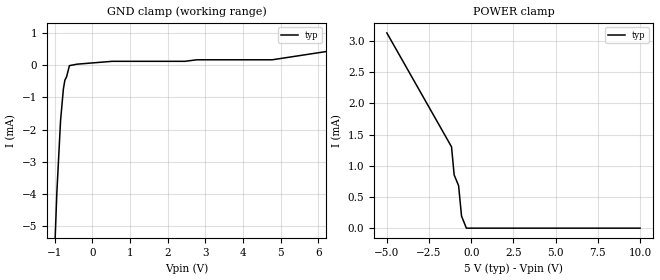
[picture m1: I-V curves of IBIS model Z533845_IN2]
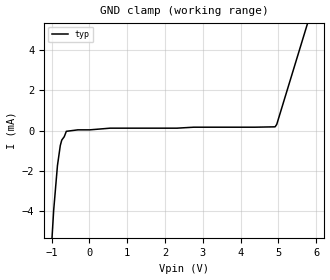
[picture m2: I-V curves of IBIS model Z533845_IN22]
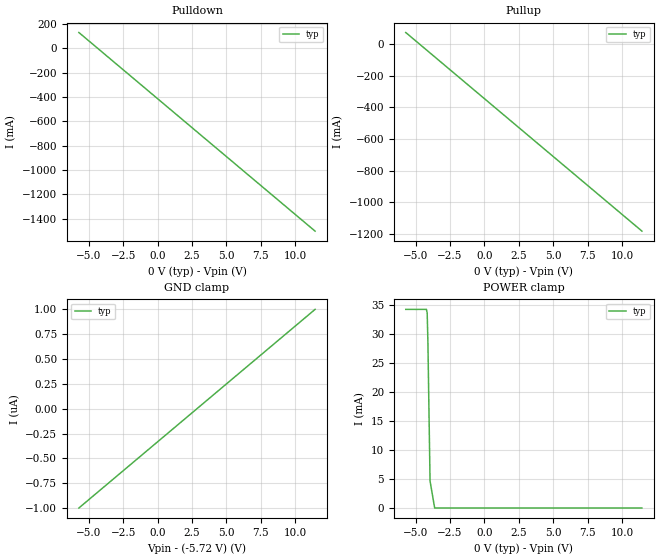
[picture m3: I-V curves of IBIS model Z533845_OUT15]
| YOU ARE ONLY AUTHORIZED TO USE THIS SOFTWARE
| ACCORDING TO LICENSOR'S LICENSE RESTRICTIONS.
[IBIS Ver] 3.1
[File Name] mc100e157fn_pecl.ibs
[File Rev] 2.0
[Source] Measured and created by ICX Technology
[Date] Friday 7/14/00 9:07:47 AM
[Copyright]
| (C) COPYRIGHT 1993-2000
| MENTOR GRAPHICS CORPORATION
| ICX STANDARD LIBRARY, ICX PROJECT MODELING,
| ICX CUSTOM MODELING, ICX VENDOR MODEL
| ALL RIGHTS RESERVED.
| THE FOLLOWING ARE TRADEMARKS OR SERVICE MARKS OF
| MENTOR GRAPHICS CORPORATION:ICX (R), ICX STANDARD
| LIBRARY(R), ICX PROJECT MODELING(R), ICX CUSTOM
| MODELING(R), qualityIBIS(TM), MODELVIEWER(TM),
| AND MODELEDITOR(TM)
| ALL COPIES OF SOFTWARE, INCLUDING BUT NOT LIMITED TO
| ANY MODIFICATIONS, ENHANCEMENTS OR DERIVATIVE WORKS,
| MUST CONTAIN ALL MENTOR GRAPHICS CORPORATION'S
| NOTICES AND LEGENDS, INCLUDING THOSE EMBEDDED IN
| SOFTWARE AND THOSE AFFIXED TO SOFTWARE MEDIUM
| AND CONTAINER, AS RECEIVED FROM MENTOR GRAPHICS
| CORPORATION.
|  ZAP Model Builder 2.7
[Component] MC100E157FN_PECL
[Manufacturer] OnSemiconductor
[Package]
| variable   typ   min   max
R_pkg  .083ohms NA NA
L_pkg  4.299nH NA NA
C_pkg  1.045pF NA NA
[Pin] signal_name  model_name  R_pin  L_pin C_pin
1 VEE GND .08 3.94n .925p
2 SEL1 Z533845_IN2 .082 4.14n .995p
3 D1A Z533845_IN22 .084 4.354n 1.065p
4 D1B Z533845_IN22 .086 4.583n 1.135p
5 SEL0 Z533845_IN2 .086 4.583n 1.135p
6 D0A Z533845_IN22 .084 4.354n 1.065p
7 D0B Z533845_IN22 .082 4.14n .995p
8 NC NC .08 3.94n .925p
9 NC NC .082 4.14n .995p
10 NC NC .084 4.354n 1.065p
11 VCCO POWER .086 4.583n 1.135p
12 Q0 Z533845_OUT15 .086 4.583n 1.135p
13 _Q0 Z533845_OUT15 .084 4.354n 1.065p
14 Q1 Z533845_OUT15 .082 4.14n .995p
15 _Q1 Z533845_OUT15 .08 3.94n .925p
16 VCC POWER .082 4.14n .995p
17 Q2 Z533845_OUT15 .084 4.354n 1.065p
18 _Q2 Z533845_OUT15 .086 4.583n 1.135p
19 Q3 Z533845_OUT15 .086 4.583n 1.135p
20 _Q3 Z533845_OUT15 .084 4.354n 1.065p
21 VCCO POWER .082 4.14n .995p
22 D3B Z533845_IN22 .08 3.94n .925p
23 D3A Z533845_IN22 .082 4.14n .995p
24 NC NC .084 4.354n 1.065p
25 SEL3 Z533845_IN2 .086 4.583n 1.135p
26 D2B Z533845_IN22 .086 4.583n 1.135p
27 D2A Z533845_IN22 .084 4.354n 1.065p
28 SEL2 Z533845_IN2 .082 4.14n .995p
| Models and submodels in the file (3): Z533845_IN2 (Input_ECL), Z533845_IN22 (Input_ECL), Z533845_OUT15 (Output_ECL)
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| (C) COPYRIGHT 1993-2000
| MENTOR GRAPHICS CORPORATION
| ICX STANDARD LIBRARY, ICX PROJECT MODELING,
| ICX CUSTOM MODELING, ICX VENDOR MODEL
| ALL RIGHTS RESERVED.
| THE FOLLOWING ARE TRADEMARKS OR SERVICE MARKS OF
| MENTOR GRAPHICS CORPORATION:ICX (R), ICX STANDARD
| LIBRARY(R), ICX PROJECT MODELING(R), ICX CUSTOM
| MODELING(R), qualityIBIS(TM), MODELVIEWER(TM),
| AND MODELEDITOR(TM)
| ALL COPIES OF SOFTWARE, INCLUDING BUT NOT LIMITED TO
| ANY MODIFICATIONS, ENHANCEMENTS OR DERIVATIVE WORKS,
| MUST CONTAIN ALL MENTOR GRAPHICS CORPORATION'S
| NOTICES AND LEGENDS, INCLUDING THOSE EMBEDDED IN
| SOFTWARE AND THOSE AFFIXED TO SOFTWARE MEDIUM
| AND CONTAINER, AS RECEIVED FROM MENTOR GRAPHICS
| CORPORATION.
| Model Application Version 1.89 2/18/99.
[Model] Z533845_IN2
Model_type Input_ECL
Vinl = 3.520V
Vinh = 3.830V
C_comp 4.000pF NA NA
| variable typ   min   max
[Voltage Range] 5.000V NA NA
[GND Clamp Reference] 0.000V NA NA
[POWER Clamp Reference] 5.000V NA NA
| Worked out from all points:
|   GND clamp passes 1 mA (typ) near -0.79 V on its own axis
|   POWER clamp passes 1 mA (typ) near -1.06 V on its own axis
[GND Clamp]
-5V       -263mA     NA         NA
-1.04V    -6.99mA    NA         NA
-943.9mV  -3.96mA    NA         NA
-845.1mV  -1.719mA   NA         NA
-770.1mV  -742.1uA   NA         NA
-730.6mV  -469.5uA   NA         NA
-685.1mV  -363.4uA   NA         NA
-609.6mV  -17.37uA   NA         NA
527.3mV   116.2uA    NA         NA
2.779V    163.6uA    NA         NA
4.779V    163.6uA    NA         NA
10V       1.093mA    NA         NA
[POWER Clamp]
-5V       3.129mA    NA         NA
-1.167V   1.303mA    NA         NA
-1.011V   852.1uA    NA         NA
-748mV    680.9uA    NA         NA
-575mV    194uA      NA         NA
-287.5mV  0A         NA         NA
10V       0A         NA         NA
| (C) COPYRIGHT 1993-2000
| MENTOR GRAPHICS CORPORATION
| ICX STANDARD LIBRARY, ICX PROJECT MODELING,
| ICX CUSTOM MODELING, ICX VENDOR MODEL
| ALL RIGHTS RESERVED.
| THE FOLLOWING ARE TRADEMARKS OR SERVICE MARKS OF
| MENTOR GRAPHICS CORPORATION:ICX (R), ICX STANDARD
| LIBRARY(R), ICX PROJECT MODELING(R), ICX CUSTOM
| MODELING(R), qualityIBIS(TM), MODELVIEWER(TM),
| AND MODELEDITOR(TM)
| ALL COPIES OF SOFTWARE, INCLUDING BUT NOT LIMITED TO
| ANY MODIFICATIONS, ENHANCEMENTS OR DERIVATIVE WORKS,
| MUST CONTAIN ALL MENTOR GRAPHICS CORPORATION'S
| NOTICES AND LEGENDS, INCLUDING THOSE EMBEDDED IN
| SOFTWARE AND THOSE AFFIXED TO SOFTWARE MEDIUM
| AND CONTAINER, AS RECEIVED FROM MENTOR GRAPHICS
| CORPORATION.
| Model Application Version 1.89 2/18/99.
[Model] Z533845_IN22
Model_type Input_ECL
Vinl = 3.520V
Vinh = 3.830V
C_comp 4.000pF NA NA
| variable typ   min   max
[Voltage Range] 5.000V NA NA
[GND Clamp Reference] 0.000V NA NA
[POWER Clamp Reference] 5.000V NA NA
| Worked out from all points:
|   GND clamp passes 1 mA (typ) near -0.79 V on its own axis
[GND Clamp]
-5V       -286.4mA   NA         NA
-1.021V   -6.332mA   NA         NA
-944.9mV  -3.958mA   NA         NA
-845.2mV  -1.744mA   NA         NA
-770mV    -745.6uA   NA         NA
-730.5mV  -472.6uA   NA         NA
-665.4mV  -307.1uA   NA         NA
-610mV    -38.92uA   NA         NA
551mV     116.9uA    NA         NA
4.912V    183.2uA    NA         NA
4.956V    301.5uA    NA         NA
10V       31.29mA    NA         NA
[POWER Clamp]
-5V       0A         NA         NA
10V       0A         NA         NA
| (C) COPYRIGHT 1993-2000
| MENTOR GRAPHICS CORPORATION
| ICX STANDARD LIBRARY, ICX PROJECT MODELING,
| ICX CUSTOM MODELING, ICX VENDOR MODEL
| ALL RIGHTS RESERVED.
| THE FOLLOWING ARE TRADEMARKS OR SERVICE MARKS OF
| MENTOR GRAPHICS CORPORATION:ICX (R), ICX STANDARD
| LIBRARY(R), ICX PROJECT MODELING(R), ICX CUSTOM
| MODELING(R), qualityIBIS(TM), MODELVIEWER(TM),
| AND MODELEDITOR(TM)
| ALL COPIES OF SOFTWARE, INCLUDING BUT NOT LIMITED TO
| ANY MODIFICATIONS, ENHANCEMENTS OR DERIVATIVE WORKS,
| MUST CONTAIN ALL MENTOR GRAPHICS CORPORATION'S
| NOTICES AND LEGENDS, INCLUDING THOSE EMBEDDED IN
| SOFTWARE AND THOSE AFFIXED TO SOFTWARE MEDIUM
| AND CONTAINER, AS RECEIVED FROM MENTOR GRAPHICS
| CORPORATION.
| Model Application Version 1.89 2/18/99.
[Model] Z533845_OUT15
Model_type Output_ECL
Vref=0.000V
Rref=500.0Mohms
Cref=50.00pF
Vmeas=3.620V
C_comp 8.000pF NA NA
| variable typ   min   max
[Voltage Range] -5.720V NA NA
[POWER Clamp Reference] 0.000V NA NA
[Pullup Reference] 0.000V NA NA
[Pulldown Reference] 0.000V NA NA
[GND Clamp Reference] -5.720V NA NA
[GND Clamp]
-5.72V    -1uA       NA         NA
11.44V    1uA        NA         NA
[Pulldown]
-5.72V    129.1mA    NA         NA
11.44V    -1.503A    NA         NA
[Pullup]
-5.72V    73.9mA     NA         NA
11.44V    -1.183A    NA         NA
[POWER Clamp]
-5.72V    34.32mA    NA         NA
-4.219V   34.32mA    NA         NA
-4.164V   33.72mA    NA         NA
-4.111V   28.73mA    NA         NA
-3.955V   4.668mA    NA         NA
-3.62V    0A         NA         NA
11.44V    0A         NA         NA
[Ramp]
| variable typ min max
dV/dt_r 180.4m/264.4p NA NA
dV/dt_f 180.4m/241.3p NA NA
R_load = 500.0Ohms
